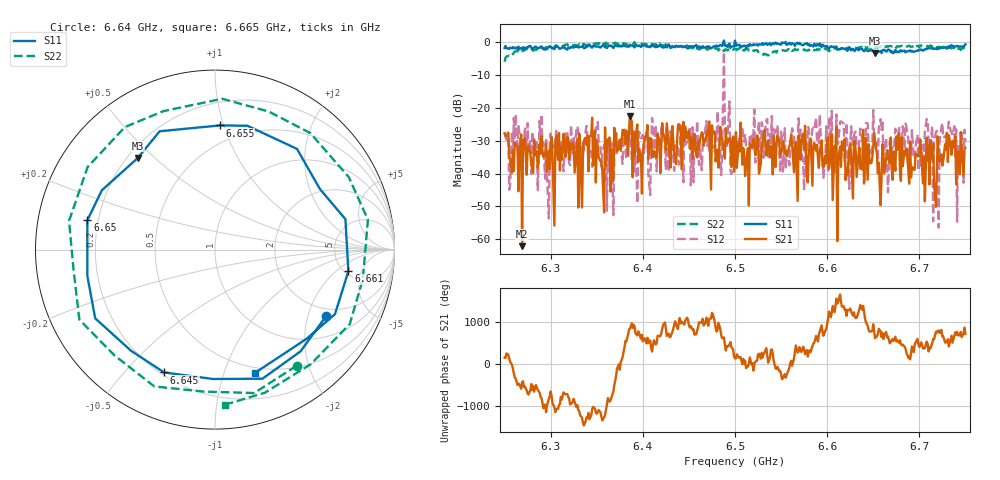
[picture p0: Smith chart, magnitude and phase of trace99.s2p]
# Hz S RI R 50
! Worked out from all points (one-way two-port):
!   401 points, 6.25 GHz to 6.75 GHz, reference 50 ohm
!   highest |S21| = -22.60 dB at 6.386 GHz (marker M1); lowest = -62.1 dB at 6.269 GHz (marker M2)
!   lowest |S11| = -3.5 dB at 6.652 GHz (marker M3), VSWR 5.02, Z = 12 + j22.1 ohm
!   |S11| at or under -10 dB: nowhere
!   |S22| runs from -6.0 to -0.1 dB; largest |S21 - S12| = 0.69
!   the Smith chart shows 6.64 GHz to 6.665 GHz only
!   S11 on the Smith chart (normalised r, x): 6.64 GHz: 1.69, -2.62; 6.645 GHz: 0.21, -0.65; 6.65 GHz: 0.16, +0.11; 6.655 GHz: 0.36, +0.97; 6.661 GHz: 5.38, -2.99; 6.665 GHz: 0.44, -1.28
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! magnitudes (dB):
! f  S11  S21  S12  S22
! 6.25 GHz  -1.8  -27.8  -27.4  -6.0
! 6.256 GHz  -1.7  -36.1  -43.5  -4.4
! 6.269 GHz  -2.2  -62.1  -32.9  -2.5
! 6.334 GHz  -1.5  -50.3  -32.8  -1.0
! 6.386 GHz  -0.8  -22.6  -23.7  -0.6
! 6.418 GHz  -1.1  -29.9  -30.5  -0.4
! 6.462 GHz  -1.5  -29.7  -32.3  -2.2
! 6.49 GHz  -1.1  -26.4  -26.1  -2.2
! 6.5 GHz  0.4  -34.7  -32.6  -2.2
! 6.57 GHz  -0.3  -30.4  -28.6  -2.3
! 6.575 GHz  -0.8  -32.8  -45.2  -2.2
! 6.584 GHz  -1.2  -43.7  -26.4  -2.4
! 6.64 GHz  -2.8  -43.0  -29.2  -2.0
! 6.645 GHz  -2.6  -31.1  -32.8  -1.8
! 6.65 GHz  -2.7  -32.1  -20.7  -1.5
! 6.652 GHz  -3.5  -30.3  -31.0  -1.7
! 6.655 GHz  -3.2  -40.0  -36.1  -1.7
! 6.661 GHz  -2.5  -33.8  -34.2  -1.3
! 6.665 GHz  -2.8  -32.9  -36.6  -1.2
! 6.668 GHz  -2.5  -36.7  -30.6  -1.2
! 6.685 GHz  -3.2  -34.4  -24.8  -1.6
! 6.75 GHz  -0.8  -32.1  -30.2  -2.2
